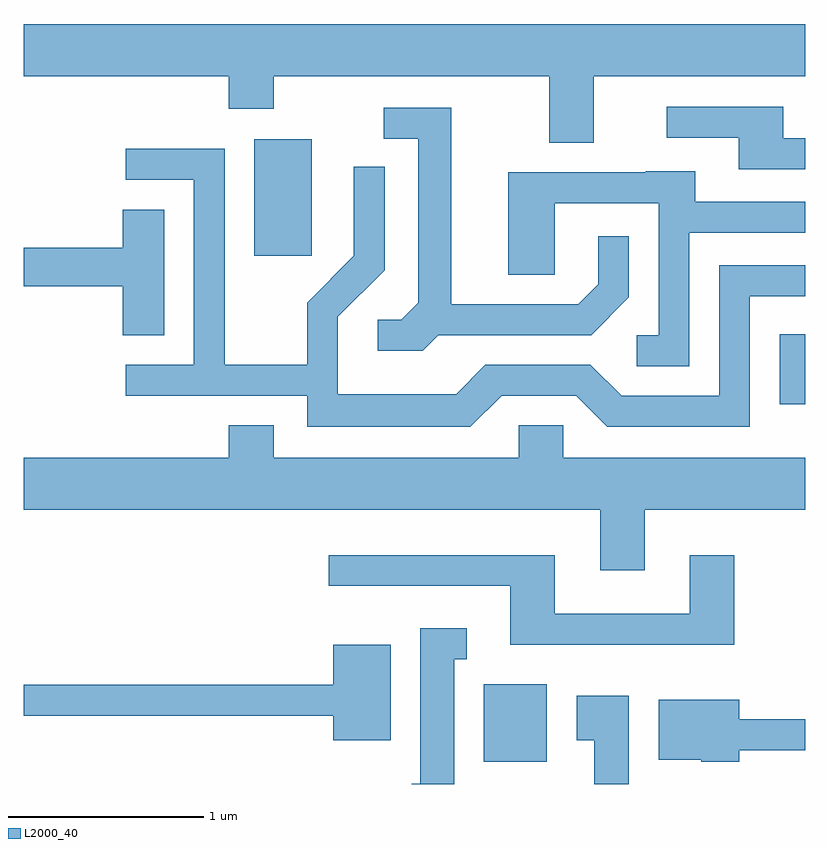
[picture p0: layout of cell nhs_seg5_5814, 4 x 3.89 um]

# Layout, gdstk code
import gdstk
lib = gdstk.Library(unit=1e-6, precision=1e-09)
def R(c, l, rs):  # rectangles x0, y0, x1, y1
    for r in rs: c.add(gdstk.rectangle(r[:2], r[2:], *l))
def P(c, l, *ps):  # polygons
    for p in ps: c.add(gdstk.Polygon(p, *l))
L2000_40 = (2000, 40)

nhs_seg5_5814 = lib.new_cell('nhs_seg5_5814')
R(nhs_seg5_5814, L2000_40, [(359.966,1442.186,360.289,1442.584), (361.481,1444.018,361.611,1444.374), (358.791,1444.776,359.084,1445.374)])
P(nhs_seg5_5814, L2000_40, [(360.529,1445.696),(361.611,1445.696),(361.611,1445.964),(357.611,1445.964),(357.611,1445.696),(358.661,1445.696),(358.661,1445.531),(358.889,1445.531),(358.889,1445.696),(360.301,1445.696),(360.301,1445.356),(360.529,1445.356)],
  [(361.611,1445.379),(361.499,1445.379),(361.499,1445.539),(360.903,1445.539),(360.903,1445.381),(361.271,1445.381),(361.271,1445.221),(361.611,1445.221)],
  [(359.732,1444.371),(360.517,1444.371),(360.709,1444.564),(360.709,1444.878),(360.551,1444.878),(360.551,1444.632),(360.449,1444.529),(359.799,1444.529),(359.799,1445.534),(359.453,1445.534),(359.453,1445.376),(359.631,1445.376),(359.631,1444.537),(359.544,1444.449),(359.423,1444.449),(359.423,1444.291),(359.652,1444.291)],
  [(360.057,1444.061),(360.439,1444.061),(360.599,1443.901),(361.329,1443.901),(361.329,1444.571),(361.611,1444.571),(361.611,1444.729),(361.171,1444.729),(361.171,1444.059),(360.672,1444.059),(360.512,1444.219),(359.974,1444.219),(359.824,1444.069),(359.219,1444.069),(359.219,1444.464),(359.459,1444.704),(359.459,1445.233),(359.301,1445.233),(359.301,1444.777),(359.061,1444.537),(359.061,1444.219),(358.639,1444.219),(358.639,1445.324),(358.133,1445.324),(358.133,1445.166),(358.481,1445.166),(358.481,1444.219),(358.133,1444.219),(358.133,1444.061),(359.061,1444.061),(359.061,1443.901),(359.897,1443.901)],
  [(361.019,1444.896),(361.611,1444.896),(361.611,1445.054),(361.049,1445.054),(361.049,1445.209),(360.795,1445.209),(360.795,1445.204),(360.091,1445.204),(360.091,1444.681),(360.329,1444.681),(360.329,1445.046),(360.861,1445.046),(360.861,1444.369),(360.748,1444.369),(360.748,1444.211),(361.019,1444.211)],
  [(358.329,1445.014),(358.116,1445.014),(358.116,1444.819),(357.611,1444.819),(357.611,1444.621),(358.116,1444.621),(358.116,1444.371),(358.329,1444.371)],
  [(360.789,1443.476),(361.611,1443.476),(361.611,1443.744),(360.374,1443.744),(360.374,1443.909),(360.146,1443.909),(360.146,1443.744),(358.889,1443.744),(358.889,1443.909),(358.661,1443.909),(358.661,1443.744),(357.611,1443.744),(357.611,1443.476),(360.561,1443.476),(360.561,1443.166),(360.789,1443.166)],
  [(361.249,1443.244),(361.021,1443.244),(361.021,1442.944),(360.329,1442.944),(360.329,1443.244),(359.173,1443.244),(359.173,1443.086),(360.101,1443.086),(360.101,1442.786),(361.249,1442.786)],
  [(359.814,1442.711),(359.878,1442.711),(359.878,1442.869),(359.641,1442.869),(359.641,1442.074),(359.596,1442.074),(359.596,1442.072),(359.814,1442.072)],
  [(359.489,1442.784),(359.196,1442.784),(359.196,1442.579),(357.611,1442.579),(357.611,1442.421),(359.196,1442.421),(359.196,1442.296),(359.489,1442.296)],
  [(360.709,1442.524),(360.441,1442.524),(360.441,1442.296),(360.531,1442.296),(360.531,1442.072),(360.709,1442.072)],
  [(361.274,1442.246),(361.611,1442.246),(361.611,1442.404),(361.274,1442.404),(361.274,1442.504),(360.861,1442.504),(360.861,1442.196),(361.08,1442.196),(361.08,1442.186),(361.274,1442.186)])

lib.write_gds('nhs_seg5_5814.gds')
